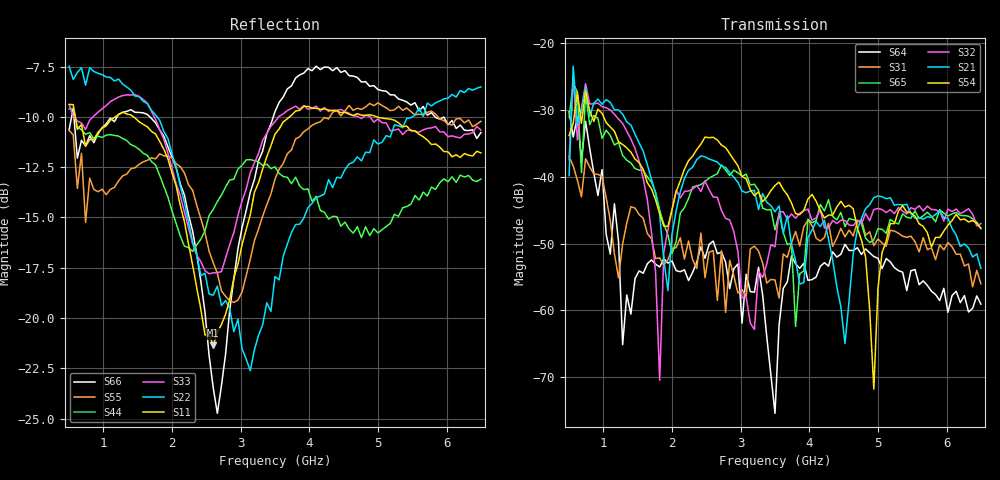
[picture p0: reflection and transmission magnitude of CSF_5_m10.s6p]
!Keysight Technologies,M9804A,MY58100912,A.14.10.03
!Date: Thursday, April 27, 2023 10:28:33
!Correction: S11(C  6-Port  )
!S12(C  6-Port  )
!S13(C  6-Port  )
!S14(C  6-Port  )
!S15(C  6-Port  )
!S16(C  6-Port  )
!S21(C  6-Port  )
!S22(C  6-Port  )
!S23(C  6-Port  )
!S24(C  6-Port  )
!S25(C  6-Port  )
!S26(C  6-Port  )
!S31(C  6-Port  )
!S32(C  6-Port  )
!S33(C  6-Port  )
!S34(C  6-Port  )
!S35(C  6-Port  )
!S36(C  6-Port  )
!S41(C  6-Port  )
!S42(C  6-Port  )
!S43(C  6-Port  )
!S44(C  6-Port  )
!S45(C  6-Port  )
!S46(C  6-Port  )
!S51(C  6-Port  )
!S52(C  6-Port  )
!S53(C  6-Port  )
!S54(C  6-Port  )
!S55(C  6-Port  )
!S56(C  6-Port  )
!S61(C  6-Port  )
!S62(C  6-Port  )
!S63(C  6-Port  )
!S64(C  6-Port  )
!S65(C  6-Port  )
!S66(C  6-Port  )
!S6P File: Measurement: :
# Hz S  RI  R 50
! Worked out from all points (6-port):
!   101 points, 500 MHz to 6.5 GHz, reference 50 ohm
!   strongest paths, dB at 500 MHz, 2 GHz, 3.5 GHz, 5 GHz, 6.5 GHz:
!     S54: -33.8, -44.9, -41.3, -56.7, -47.8
!     S21: -39.8, -48.6, -45.2, -42.9, -53.7
!     S32: -37.4, -44.9, -50.5, -44.8, -47.0
!     S65: -31.1, -51.5, -47.9, -47.8, -47.7
!     S31: -37.0, -50.7, -55.5, -49.3, -56.0
!     S64: -30.3, -52.6, -75.4, -52.2, -59.1
!   lowest |S11| = -21.4 dB at 2.6 GHz (marker M1), VSWR 1.19, Z = 42.4 + j2.2 ohm
!   |S11| at or under -10 dB: 589.4 MHz to 1.174 GHz (584.3 MHz wide, 66.3 % of centre); 1.437 GHz to 3.713 GHz (2.276 GHz wide, 88.4 % of centre); 4.98 GHz to end of sweep
